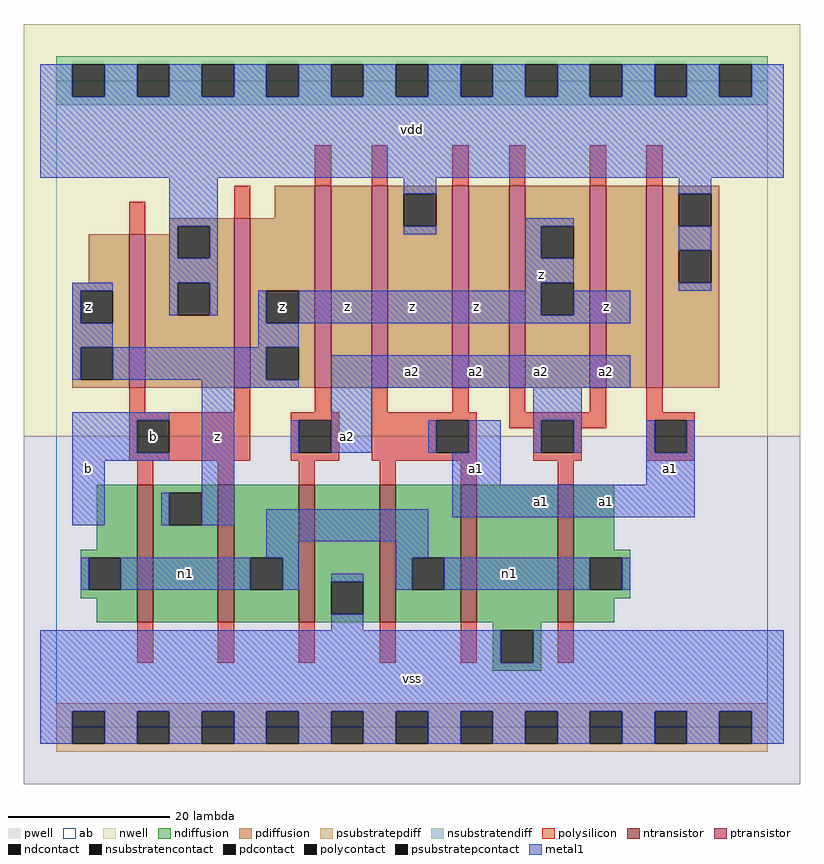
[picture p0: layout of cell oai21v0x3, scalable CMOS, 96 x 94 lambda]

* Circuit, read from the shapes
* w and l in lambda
.subckt oai21v0x3 a1 a2 b n1 vdd vss z
M1 z b n1 vss nfet w=17 l=2 m=2
M2 vss a2 n1 vss nfet w=17 l=2 m=2
M3 n1 a1 vss vss nfet w=17 l=2 m=2
M4 vdd b z vdd pfet w=19 l=2
M5 z b vdd vdd pfet w=21 l=2
M6 n2 a2 z vdd pfet w=25 l=2
M7 vdd a1 n2 vdd pfet w=25 l=2
M8 n3 a1 vdd vdd pfet w=25 l=2
M9 z a2 n3 vdd pfet w=25 l=2
M10 n4 a2 z vdd pfet w=25 l=2
M11 vdd a1 n4 vdd pfet w=25 l=2
.ends

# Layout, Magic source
magic
tech scmos
<< ab >>
rect 0 0 88 80
<< pwell >>
rect -4 -7 92 36
<< nwell >>
rect -4 36 92 87
<< polysilicon >>
rect 32 67 34 72
rect 39 67 41 72
rect 49 67 51 72
rect 56 67 58 72
rect 66 67 68 72
rect 73 67 75 72
rect 9 61 11 65
rect 22 63 24 67
rect 9 39 11 42
rect 22 39 24 42
rect 32 39 34 42
rect 39 39 41 42
rect 49 39 51 42
rect 56 39 58 42
rect 66 39 68 42
rect 9 38 24 39
rect 9 34 10 38
rect 14 34 24 38
rect 9 33 24 34
rect 29 38 35 39
rect 29 34 30 38
rect 34 34 35 38
rect 29 33 35 34
rect 39 38 52 39
rect 39 34 47 38
rect 51 34 52 38
rect 56 38 68 39
rect 56 37 60 38
rect 39 33 52 34
rect 59 34 60 37
rect 64 37 68 38
rect 73 39 75 42
rect 73 38 79 39
rect 64 34 65 37
rect 59 33 65 34
rect 73 34 74 38
rect 78 34 79 38
rect 73 33 79 34
rect 10 30 12 33
rect 20 30 22 33
rect 30 30 32 33
rect 40 30 42 33
rect 50 30 52 33
rect 62 30 64 33
rect 10 8 12 13
rect 20 8 22 13
rect 30 8 32 13
rect 40 8 42 13
rect 50 8 52 13
rect 62 8 64 13
<< ndiffusion >>
rect 5 22 10 30
rect 3 21 10 22
rect 3 17 4 21
rect 8 17 10 21
rect 3 16 10 17
rect 5 13 10 16
rect 12 29 20 30
rect 12 25 14 29
rect 18 25 20 29
rect 12 13 20 25
rect 22 21 30 30
rect 22 17 24 21
rect 28 17 30 21
rect 22 13 30 17
rect 32 18 40 30
rect 32 14 34 18
rect 38 14 40 18
rect 32 13 40 14
rect 42 21 50 30
rect 42 17 44 21
rect 48 17 50 21
rect 42 13 50 17
rect 52 13 62 30
rect 64 22 69 30
rect 64 21 71 22
rect 64 17 66 21
rect 70 17 71 21
rect 64 16 71 17
rect 64 13 69 16
rect 54 12 60 13
rect 54 8 55 12
rect 59 8 60 12
rect 54 7 60 8
<< pdiffusion >>
rect 27 63 32 67
rect 14 62 22 63
rect 14 61 15 62
rect 4 55 9 61
rect 2 54 9 55
rect 2 50 3 54
rect 7 50 9 54
rect 2 47 9 50
rect 2 43 3 47
rect 7 43 9 47
rect 2 42 9 43
rect 11 58 15 61
rect 19 58 22 62
rect 11 55 22 58
rect 11 51 15 55
rect 19 51 22 55
rect 11 42 22 51
rect 24 54 32 63
rect 24 50 26 54
rect 30 50 32 54
rect 24 47 32 50
rect 24 43 26 47
rect 30 43 32 47
rect 24 42 32 43
rect 34 42 39 67
rect 41 66 49 67
rect 41 62 43 66
rect 47 62 49 66
rect 41 42 49 62
rect 51 42 56 67
rect 58 62 66 67
rect 58 58 60 62
rect 64 58 66 62
rect 58 55 66 58
rect 58 51 60 55
rect 64 51 66 55
rect 58 42 66 51
rect 68 42 73 67
rect 75 66 82 67
rect 75 62 77 66
rect 81 62 82 66
rect 75 59 82 62
rect 75 55 77 59
rect 81 55 82 59
rect 75 42 82 55
<< metal1 >>
rect -2 78 2 82
rect 6 78 10 82
rect 14 78 18 82
rect 22 78 26 82
rect 30 78 34 82
rect 38 78 42 82
rect 46 78 50 82
rect 54 78 58 82
rect 62 78 66 82
rect 70 78 74 82
rect 78 78 82 82
rect 86 78 90 82
rect -2 68 90 78
rect 14 62 20 68
rect 14 58 15 62
rect 19 58 20 62
rect 43 66 47 68
rect 77 66 81 68
rect 43 61 47 62
rect 58 62 64 63
rect 14 55 20 58
rect 2 54 7 55
rect 2 50 3 54
rect 14 51 15 55
rect 19 51 20 55
rect 58 58 60 62
rect 58 55 64 58
rect 58 54 60 55
rect 2 47 7 50
rect 25 50 26 54
rect 30 51 60 54
rect 77 59 81 62
rect 77 54 81 55
rect 64 51 71 54
rect 30 50 71 51
rect 25 47 30 50
rect 2 43 3 47
rect 7 43 26 47
rect 18 42 30 43
rect 34 42 71 46
rect 2 38 14 39
rect 2 34 10 38
rect 2 33 14 34
rect 2 25 6 33
rect 13 25 14 29
rect 18 25 22 42
rect 29 34 30 38
rect 34 34 39 42
rect 59 38 65 42
rect 46 34 47 38
rect 51 34 55 38
rect 59 34 60 38
rect 64 34 65 38
rect 73 34 74 38
rect 78 34 79 38
rect 49 30 55 34
rect 73 30 79 34
rect 26 23 46 27
rect 49 26 79 30
rect 26 21 30 23
rect 3 17 4 21
rect 8 17 24 21
rect 28 17 30 21
rect 42 21 46 23
rect 34 18 38 19
rect 42 17 44 21
rect 48 17 66 21
rect 70 17 71 21
rect 34 12 38 14
rect -2 8 55 12
rect 59 8 90 12
rect -2 2 90 8
rect -2 -2 2 2
rect 6 -2 10 2
rect 14 -2 18 2
rect 22 -2 26 2
rect 30 -2 34 2
rect 38 -2 42 2
rect 46 -2 50 2
rect 54 -2 58 2
rect 62 -2 66 2
rect 70 -2 74 2
rect 78 -2 82 2
rect 86 -2 90 2
<< ntransistor >>
rect 10 13 12 30
rect 20 13 22 30
rect 30 13 32 30
rect 40 13 42 30
rect 50 13 52 30
rect 62 13 64 30
<< ptransistor >>
rect 9 42 11 61
rect 22 42 24 63
rect 32 42 34 67
rect 39 42 41 67
rect 49 42 51 67
rect 56 42 58 67
rect 66 42 68 67
rect 73 42 75 67
<< polycontact >>
rect 10 34 14 38
rect 30 34 34 38
rect 47 34 51 38
rect 60 34 64 38
rect 74 34 78 38
<< ndcontact >>
rect 4 17 8 21
rect 14 25 18 29
rect 24 17 28 21
rect 34 14 38 18
rect 44 17 48 21
rect 66 17 70 21
rect 55 8 59 12
<< pdcontact >>
rect 3 50 7 54
rect 3 43 7 47
rect 15 58 19 62
rect 15 51 19 55
rect 26 50 30 54
rect 26 43 30 47
rect 43 62 47 66
rect 60 58 64 62
rect 60 51 64 55
rect 77 62 81 66
rect 77 55 81 59
<< psubstratepcontact >>
rect 2 -2 6 2
rect 10 -2 14 2
rect 18 -2 22 2
rect 26 -2 30 2
rect 34 -2 38 2
rect 42 -2 46 2
rect 50 -2 54 2
rect 58 -2 62 2
rect 66 -2 70 2
rect 74 -2 78 2
rect 82 -2 86 2
<< nsubstratencontact >>
rect 2 78 6 82
rect 10 78 14 82
rect 18 78 22 82
rect 26 78 30 82
rect 34 78 38 82
rect 42 78 46 82
rect 50 78 54 82
rect 58 78 62 82
rect 66 78 70 82
rect 74 78 78 82
rect 82 78 86 82
<< psubstratepdiff >>
rect 0 2 88 3
rect 0 -2 2 2
rect 6 -2 10 2
rect 14 -2 18 2
rect 22 -2 26 2
rect 30 -2 34 2
rect 38 -2 42 2
rect 46 -2 50 2
rect 54 -2 58 2
rect 62 -2 66 2
rect 70 -2 74 2
rect 78 -2 82 2
rect 86 -2 88 2
rect 0 -3 88 -2
<< nsubstratendiff >>
rect 0 82 88 83
rect 0 78 2 82
rect 6 78 10 82
rect 14 78 18 82
rect 22 78 26 82
rect 30 78 34 82
rect 38 78 42 82
rect 46 78 50 82
rect 54 78 58 82
rect 62 78 66 82
rect 70 78 74 82
rect 78 78 82 82
rect 86 78 88 82
rect 0 77 88 78
<< labels >>
rlabel metal1 4 32 4 32 6 b
rlabel polycontact 12 36 12 36 6 b
rlabel pdcontact 4 52 4 52 6 z
rlabel metal1 16 19 16 19 6 n1
rlabel metal1 20 36 20 36 6 z
rlabel pdcontact 28 52 28 52 6 z
rlabel metal1 44 6 44 6 6 vss
rlabel metal1 36 36 36 36 6 a2
rlabel metal1 44 44 44 44 6 a2
rlabel metal1 44 52 44 52 6 z
rlabel metal1 36 52 36 52 6 z
rlabel metal1 44 74 44 74 6 vdd
rlabel metal1 60 28 60 28 6 a1
rlabel metal1 68 28 68 28 6 a1
rlabel metal1 52 32 52 32 6 a1
rlabel metal1 52 44 52 44 6 a2
rlabel metal1 60 44 60 44 6 a2
rlabel metal1 68 44 68 44 6 a2
rlabel metal1 68 52 68 52 6 z
rlabel metal1 52 52 52 52 6 z
rlabel metal1 60 56 60 56 6 z
rlabel metal1 56 19 56 19 6 n1
rlabel metal1 76 32 76 32 6 a1
<< end >>
